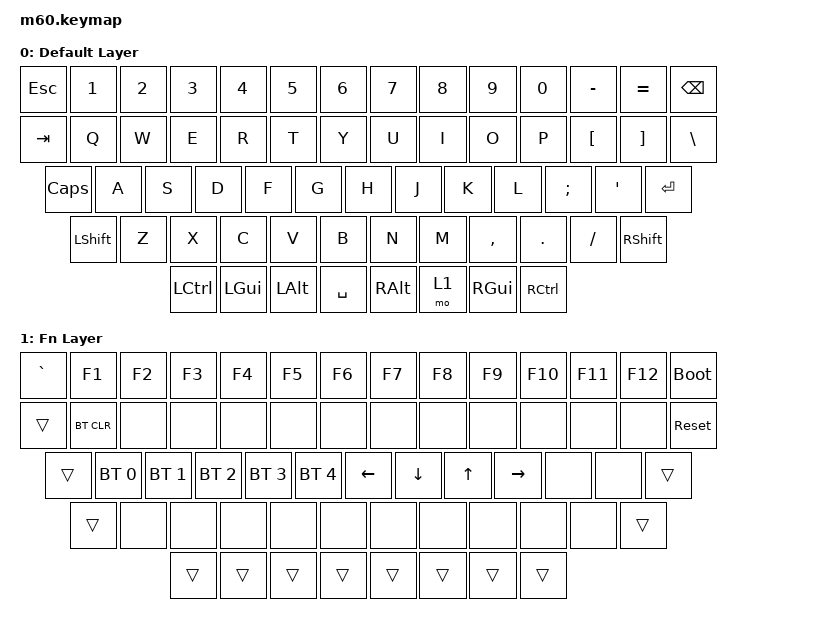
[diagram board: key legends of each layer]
/*
 * Copyright (c) 2020 The ZMK Contributors
 *
 * SPDX-License-Identifier: MIT
 */

#include <behaviors.dtsi>
#include <dt-bindings/zmk/keys.h>
#include <dt-bindings/zmk/bt.h>

/ {
    keymap0: keymap {
        compatible = "zmk,keymap";

        default_layer {
            display-name = "Default Layer";
// ------------------------------------------------------------------------------------------
// | ESC |  1  |  2  |  3  |  4  |  5  |  6  |  7  |  8  |  9  |  0  |  -  |  =  |   BSPC   |
// | TAB  |  Q  |  W  |  E  |  R  |  T  |  Y  |  U  |  I  |  O  |  P  |  [  |  ]  |    \    |
// | CAPS  |  A  |  S  |  D  |  F  |  G  |  H  |  J  |  K  |  L  |  ;  |  '  |     ENTER    |
// |  SHIFT  |  Z  |  X  |  C  |  V  |  B  |  N  |  M  |  ,  |  .  |  /  |      SHIFT       |
// |  CTL  |  WIN  |  ALT  |            SPACE               | ALT | MO(1) |  WIN  | CTRL    |
// ------------------------------------------------------------------------------------------
            bindings = <
    &kp ESC &kp N1 &kp N2 &kp N3 &kp N4 &kp N5 &kp N6 &kp N7 &kp   N8  &kp  N9 &kp  N0  &kp MINUS &kp EQUAL &kp BSPC
    &kp TAB  &kp Q  &kp W  &kp E  &kp R  &kp T  &kp Y  &kp U  &kp   I   &kp  O  &kp   P  &kp LBKT &kp RBKT  &kp BSLH
    &kp CLCK  &kp A  &kp S  &kp D  &kp F  &kp G  &kp H  &kp J  &kp   K   &kp  L  &kp SEMI &kp SQT           &kp RET
    &kp LSHFT  &kp Z  &kp X  &kp C  &kp V  &kp B  &kp N  &kp M  &kp COMMA &kp DOT &kp FSLH         &kp RSHFT
    &kp LCTRL &kp LGUI &kp LALT               &kp SPACE                 &kp  RALT  &mo  1  &kp  RGUI  &kp  RCTRL
            >;
        };

        fn_layer {
            display-name = "Fn Layer";
            bindings = <
&kp GRAVE  &kp F1     &kp F2     &kp F3     &kp F4     &kp F5     &kp F6     &kp F7     &kp F8     &kp F9     &kp F10    &kp F11    &kp F12    &bootloader
&trans         &bt BT_CLR &none      &none      &none      &none      &none      &none      &none      &none      &none      &none      &none      &sys_reset
&trans           &bt BT_SEL 0 &bt BT_SEL 1 &bt BT_SEL 2 &bt BT_SEL 3 &bt BT_SEL 4 &kp LEFT   &kp DOWN   &kp UP   &kp RIGHT   &none      &none      &trans
&trans                &none      &none      &none      &none      &none      &none      &none      &none      &none      &none      &trans
&trans       &trans       &trans       &trans                                                                     &trans     &trans     &trans     &trans
            >;
        };
    };
};
